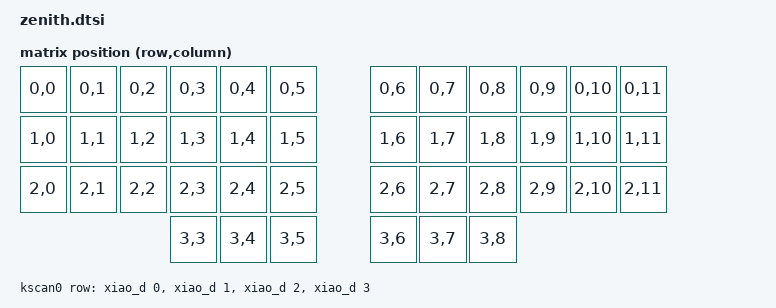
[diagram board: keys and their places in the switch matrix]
/*
 * Copyright (c) 2025 The ZMK Contributors
 *
 * SPDX-License-Identifier: MIT
 */

#include <dt-bindings/zmk/matrix_transform.h>
#include "zenith_layouts.dtsi"

&ergomech_zenith_layout {
    transform = <&default_transform>;
};

/*
 * Extend the upstream xiao_d connector with the XIAO BLE's bottom SMD
 * pads (D11-D19). The upstream Zephyr connector only exposes D0-D10.
 * Zenith's kscan wires columns to pads D17-D19 for the outer-pinky
 * column, so the matrix won't scan without this override.
 */
&xiao_d {
    gpio-map
        = <0 0 &gpio0 2 0>
        , <1 0 &gpio0 3 0>
        , <2 0 &gpio0 28 0>
        , <3 0 &gpio0 29 0>
        , <4 0 &gpio0 4 0>
        , <5 0 &gpio0 5 0>
        , <6 0 &gpio1 11 0>
        , <7 0 &gpio1 12 0>
        , <8 0 &gpio1 13 0>
        , <9 0 &gpio1 14 0>
        , <10 0 &gpio1 15 0>
        , <11 0 &gpio0 15 0>
        , <12 0 &gpio0 19 0>
        , <13 0 &gpio1 1 0>
        , <14 0 &gpio0 9 0>
        , <15 0 &gpio0 10 0>
        , <16 0 &gpio0 31 0>
        , <17 0 &gpio1 7 0>
        , <18 0 &gpio1 5 0>
        , <19 0 &gpio1 3 0>
        ;
};

/ {
    chosen {
        zmk,kscan = &kscan0;        
        //zmk,matrix_transform = &default_transform;
        zmk,physical-layout = &ergomech_zenith_layout;
};

    default_transform: keymap_transform_0 {
        compatible = "zmk,matrix-transform";
        columns = <12>;
        rows = <4>;
//             | SW01  | SW02  | SW03  | SW04  | SW05  |  | SW05  | SW04  | SW03  | SW02  | SW01  |
//             | SW06  | SW07  | SW08  | SW09  | SW10  |  | SW10  | SW09  | SW08  | SW07  | SW06  | 
//      | SW16 | SW11  | SW12  | SW13  | SW14  | SW15  |  | SW15  | SW14  | SW13  | SW12  | SW11  | SW16  |
//                             | SW17  | SW18  | SW19  |  | SW19  | SW18  | SW17  | 
        map = <
        RC(0,0) RC(0,1) RC(0,2) RC(0,3) RC(0,4) RC(0,5)     RC(0,6) RC(0,7) RC(0,8) RC(0,9) RC(0,10) RC(0,11)
        RC(1,0) RC(1,1) RC(1,2) RC(1,3) RC(1,4) RC(1,5)     RC(1,6) RC(1,7) RC(1,8) RC(1,9) RC(1,10) RC(1,11)
        RC(2,0) RC(2,1) RC(2,2) RC(2,3) RC(2,4) RC(2,5)     RC(2,6) RC(2,7) RC(2,8) RC(2,9) RC(2,10) RC(2,11)
                                RC(3,3) RC(3,4) RC(3,5)     RC(3,6) RC(3,7) RC(3,8)         
        >;
    };


    kscan0: kscan_0 {
        compatible = "zmk,kscan-gpio-matrix";
        label = "KSCAN";
        wakeup-source;

        diode-direction = "col2row";
        row-gpios
            = <&xiao_d 0 (GPIO_ACTIVE_HIGH | GPIO_PULL_DOWN)>
            , <&xiao_d 1 (GPIO_ACTIVE_HIGH | GPIO_PULL_DOWN)>
            , <&xiao_d 2 (GPIO_ACTIVE_HIGH | GPIO_PULL_DOWN)>
            , <&xiao_d 3 (GPIO_ACTIVE_HIGH | GPIO_PULL_DOWN)>
            ;
    };
};
